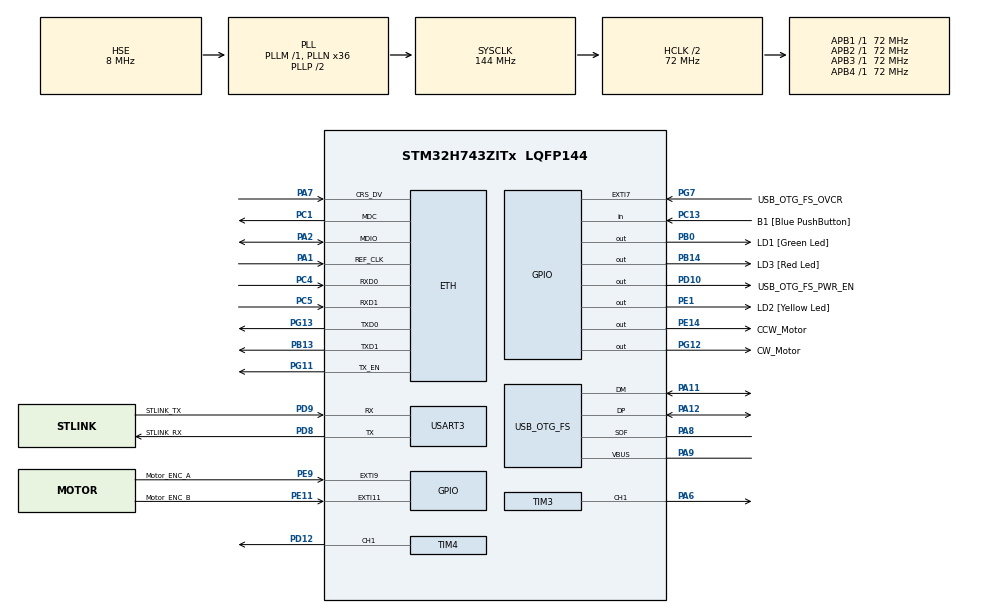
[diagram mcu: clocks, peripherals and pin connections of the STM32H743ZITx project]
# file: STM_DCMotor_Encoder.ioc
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ETH.MediaInterface=HAL_ETH_RMII_MODE
Mcu.Family=STM32H7
Mcu.Name=STM32H743ZITx
Mcu.Package=LQFP144
NVIC.EXTI15_10_IRQn=true\:0\:0\:false\:false\:true\:true\:true
NVIC.EXTI9_5_IRQn=true\:0\:0\:false\:false\:true\:true\:true
NVIC.PriorityGroup=NVIC_PRIORITYGROUP_4
NVIC.USART3_IRQn=true\:0\:0\:false\:false\:true\:true\:true
PA1.Mode=RMII
PA1.Signal=ETH_REF_CLK
PA11.Mode=Device_Only
PA11.Signal=USB_OTG_FS_DM
PA12.Mode=Device_Only
PA12.Signal=USB_OTG_FS_DP
PA13\ (JTMS/SWDIO).Mode=Serial_Wire
PA13\ (JTMS/SWDIO).Signal=DEBUG_JTMS-SWDIO
PA14\ (JTCK/SWCLK).Mode=Serial_Wire
PA14\ (JTCK/SWCLK).Signal=DEBUG_JTCK-SWCLK
PA2.Mode=RMII
PA2.Signal=ETH_MDIO
PA6.Signal=S_TIM3_CH1
PA7.Mode=RMII
PA7.Signal=ETH_CRS_DV
PA8.Mode=Activate_SOF_FS
PA8.Signal=USB_OTG_FS_SOF
PA9.Mode=Activate_VBUS
PA9.Signal=USB_OTG_FS_VBUS
PB0.GPIO_Label=LD1 [Green Led]
PB0.Signal=GPIO_Output
PB13.Mode=RMII
PB13.Signal=ETH_TXD1
PB14.GPIO_Label=LD3 [Red Led]
PB14.Signal=GPIO_Output
PC1.Mode=RMII
PC1.Signal=ETH_MDC
PC13.GPIO_Label=B1 [Blue PushButton]
PC13.Signal=GPIO_Input
PC14-OSC32_IN\ (OSC32_IN).Mode=LSE-External-Oscillator
PC14-OSC32_IN\ (OSC32_IN).Signal=RCC_OSC32_IN
PC15-OSC32_OUT\ (OSC32_OUT).Mode=LSE-External-Oscillator
PC15-OSC32_OUT\ (OSC32_OUT).Signal=RCC_OSC32_OUT
PC4.Mode=RMII
PC4.Signal=ETH_RXD0
PC5.Mode=RMII
PC5.Signal=ETH_RXD1
PD10.GPIO_Label=USB_OTG_FS_PWR_EN
PD10.Signal=GPIO_Output
PD12.Signal=S_TIM4_CH1
PD8.GPIO_Label=STLINK_RX
PD8.Mode=Asynchronous
PD8.Signal=USART3_TX
PD9.GPIO_Label=STLINK_TX
PD9.Mode=Asynchronous
PD9.Signal=USART3_RX
PE1.GPIO_Label=LD2 [Yellow Led]
PE1.Signal=GPIO_Output
PE11.GPIO_Label=Motor_ENC_B
PE11.Signal=GPXTI11
PE14.GPIO_Label=CCW_Motor
PE14.Signal=GPIO_Output
PE9.GPIO_Label=Motor_ENC_A
PE9.Signal=GPXTI9
PG11.Mode=RMII
PG11.Signal=ETH_TX_EN
PG12.GPIO_Label=CW_Motor
PG12.Signal=GPIO_Output
PG13.Mode=RMII
PG13.Signal=ETH_TXD0
PG7.GPIO_Label=USB_OTG_FS_OVCR
PG7.Signal=GPXTI7
PH0-OSC_IN\ (PH0).Mode=HSE-External-Clock-Source
PH0-OSC_IN\ (PH0).Signal=RCC_OSC_IN
PH1-OSC_OUT\ (PH1).Signal=RCC_OSC_OUT
ProjectManager.HeapSize=0x200
ProjectManager.StackSize=0x400
ProjectManager.TargetToolchain=MDK-ARM V5.32
RCC.ADCFreq_Value=16125000
RCC.APB1Freq_Value=72000000
RCC.APB2Freq_Value=72000000
RCC.APB3Freq_Value=72000000
RCC.APB4Freq_Value=72000000
RCC.CortexFreq_Value=72000000
RCC.D1CPRE=RCC_SYSCLK_DIV2
RCC.DIVM1=1
RCC.DIVN1=36
RCC.DIVQ1=5
RCC.HCLKFreq_Value=72000000
RCC.HSE_VALUE=8000000
RCC.PLL2FRACN=0
RCC.PLL3FRACN=0
RCC.PLLFRACN=0
RCC.PWR_Regulator_Voltage_Scale=PWR_REGULATOR_VOLTAGE_SCALE2
RCC.SYSCLKFreq_VALUE=144000000
RCC.SYSCLKSource=RCC_SYSCLKSOURCE_PLLCLK
RCC.USBFreq_Value=57600000
SH.S_TIM3_CH1.0=TIM3_CH1,PWM Generation1 CH1
SH.S_TIM4_CH1.0=TIM4_CH1,PWM Generation1 CH1
TIM3.Channel-PWM\ Generation1\ CH1=TIM_CHANNEL_1
TIM3.Period=100-1
TIM3.Prescaler=72-1
TIM4.Channel-PWM\ Generation1\ CH1=TIM_CHANNEL_1
TIM4.Period=100-1
TIM4.Prescaler=72-1
USART3.VirtualMode-Asynchronous=VM_ASYNC
USB_OTG_FS.VirtualMode=Device_Only
VP_TIM3_VS_ClockSourceINT.Mode=Internal
VP_TIM4_VS_ClockSourceINT.Mode=Internal
board=NUCLEO-H743ZI2

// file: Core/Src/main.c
/* USER CODE BEGIN Header */
/**
  ******************************************************************************
  * @file           : main.c
  * @brief          : Main program body
  ******************************************************************************
  * @attention
  *
  * <h2><center>&copy; Copyright (c) 2021 STMicroelectronics.
  * All rights reserved.</center></h2>
  *
  * This software component is licensed by ST under BSD 3-Clause license,
  * the "License"; You may not use this file except in compliance with the
  * License. You may obtain a copy of the License at:
  *                        opensource.org/licenses/BSD-3-Clause
  *
  ******************************************************************************
  */
/* USER CODE END Header */
#include "main.h"
#include "string.h"
#include "math.h"

#if defined ( __ICCARM__ ) /*!< IAR Compiler */

#pragma location=0x30040000
ETH_DMADescTypeDef  DMARxDscrTab[ETH_RX_DESC_CNT]; /* Ethernet Rx DMA Descriptors */
#pragma location=0x30040060
ETH_DMADescTypeDef  DMATxDscrTab[ETH_TX_DESC_CNT]; /* Ethernet Tx DMA Descriptors */
#pragma location=0x30040200
uint8_t Rx_Buff[ETH_RX_DESC_CNT][ETH_MAX_PACKET_SIZE]; /* Ethernet Receive Buffers */

#elif defined ( __CC_ARM )  /* MDK ARM Compiler */

__attribute__((at(0x30040000))) ETH_DMADescTypeDef  DMARxDscrTab[ETH_RX_DESC_CNT]; /* Ethernet Rx DMA Descriptors */
__attribute__((at(0x30040060))) ETH_DMADescTypeDef  DMATxDscrTab[ETH_TX_DESC_CNT]; /* Ethernet Tx DMA Descriptors */
__attribute__((at(0x30040200))) uint8_t Rx_Buff[ETH_RX_DESC_CNT][ETH_MAX_PACKET_SIZE]; /* Ethernet Receive Buffer */

#elif defined ( __GNUC__ ) /* GNU Compiler */

ETH_DMADescTypeDef DMARxDscrTab[ETH_RX_DESC_CNT] __attribute__((section(".RxDecripSection"))); /* Ethernet Rx DMA Descriptors */
ETH_DMADescTypeDef DMATxDscrTab[ETH_TX_DESC_CNT] __attribute__((section(".TxDecripSection")));   /* Ethernet Tx DMA Descriptors */
uint8_t Rx_Buff[ETH_RX_DESC_CNT][ETH_MAX_PACKET_SIZE] __attribute__((section(".RxArraySection"))); /* Ethernet Receive Buffers */

#endif

ETH_TxPacketConfig TxConfig;

ETH_HandleTypeDef heth;

TIM_HandleTypeDef htim3;
TIM_HandleTypeDef htim4;

UART_HandleTypeDef huart3;

PCD_HandleTypeDef hpcd_USB_OTG_FS;

void SystemClock_Config(void);
static void MX_GPIO_Init(void);
static void MX_ETH_Init(void);
static void MX_TIM3_Init(void);
static void MX_TIM4_Init(void);
static void MX_USART3_UART_Init(void);
static void MX_USB_OTG_FS_PCD_Init(void);

void encoder_tx(uint16_t data);

/* USER CODE BEGIN 0 */
uint8_t direction = 0; //0 is cw, 1 is ccw;
float duty;
float duty_cw = 0;
float duty_ccw = 0;

uint16_t counter = 0;
uint16_t encoder_counter = 0;
uint16_t old_encoder_counter = 0;

int millis = 0;
int old_millis = 0;

float motor_vel;
int delta_millis = 0;

uint8_t duty_data[3];
uint8_t encoder_data[2];
/* USER CODE END 0 */

int main(void)
{

  /* MCU Configuration--------------------------------------------------------*/

  /* Reset of all peripherals, Initializes the Flash interface and the Systick. */
  HAL_Init();

  /* Configure the system clock */
  SystemClock_Config();

  /* Initialize all configured peripherals */
  MX_GPIO_Init();
  MX_ETH_Init();
  MX_TIM3_Init();
  MX_TIM4_Init();
  MX_USART3_UART_Init();
  MX_USB_OTG_FS_PCD_Init();
  /* USER CODE BEGIN 2 */
	HAL_UART_Receive_IT (&huart3, duty_data, 3);
	//HAL_UART_Receive_DMA(&huart3, rx_data, 10);
	HAL_TIM_PWM_Start(&htim3, TIM_CHANNEL_1); // CW PWM Start
	HAL_TIM_PWM_Start(&htim4, TIM_CHANNEL_1); // CCW PWM Start
	HAL_Delay(20);
  /* USER CODE END 2 */

  /* Infinite loop */
  while (1)
  {
		//millis = HAL_GetTick();
		//delta_millis = millis - old_millis;
		//HAL_UART_Receive_IT(&huart3, (uint8_t *)duty_data, 3);

	  if(duty > 100)	duty = 100;

	  if(duty_data[0] == 0) direction = 0;
	  else									direction = 1;

		if(direction == 0)
		{
			HAL_GPIO_WritePin(CW_Motor_GPIO_Port, CW_Motor_Pin, GPIO_PIN_SET);
			HAL_GPIO_WritePin(CCW_Motor_GPIO_Port, CCW_Motor_Pin, GPIO_PIN_RESET);
			duty_cw = duty;
			duty_ccw = 0;
		}
		else
		{
			HAL_GPIO_WritePin(CCW_Motor_GPIO_Port, CCW_Motor_Pin, GPIO_PIN_SET);
			HAL_GPIO_WritePin(CW_Motor_GPIO_Port, CW_Motor_Pin, GPIO_PIN_RESET);
			duty_cw = 0;
			duty_ccw = duty;
		}

		TIM3->CCR1 = duty_cw; // CW PWM
		TIM4->CCR1 = duty_ccw; // CCW PWM

		HAL_TIM_PWM_Start(&htim3, TIM_CHANNEL_1); // CW PWM update
		HAL_TIM_PWM_Start(&htim4, TIM_CHANNEL_1); // CCW PWM update
		//old_millis = millis;
  }
}

void SystemClock_Config(void)
{
  RCC_OscInitTypeDef RCC_OscInitStruct = {0};
  RCC_ClkInitTypeDef RCC_ClkInitStruct = {0};

  /** Supply configuration update enable
  */
  HAL_PWREx_ConfigSupply(PWR_LDO_SUPPLY);
  /** Configure the main internal regulator output voltage
  */
  __HAL_PWR_VOLTAGESCALING_CONFIG(PWR_REGULATOR_VOLTAGE_SCALE2);

  while(!__HAL_PWR_GET_FLAG(PWR_FLAG_VOSRDY)) {}
  /** Initializes the RCC Oscillators according to the specified parameters
  * in the RCC_OscInitTypeDef structure.
  */
  RCC_OscInitStruct.OscillatorType = RCC_OSCILLATORTYPE_HSE;
  RCC_OscInitStruct.HSEState = RCC_HSE_BYPASS;
  RCC_OscInitStruct.PLL.PLLState = RCC_PLL_ON;
  RCC_OscInitStruct.PLL.PLLSource = RCC_PLLSOURCE_HSE;
  RCC_OscInitStruct.PLL.PLLM = 1;
  RCC_OscInitStruct.PLL.PLLN = 36;
  RCC_OscInitStruct.PLL.PLLP = 2;
  RCC_OscInitStruct.PLL.PLLQ = 5;
  RCC_OscInitStruct.PLL.PLLR = 2;
  RCC_OscInitStruct.PLL.PLLRGE = RCC_PLL1VCIRANGE_3;
  RCC_OscInitStruct.PLL.PLLVCOSEL = RCC_PLL1VCOWIDE;
  RCC_OscInitStruct.PLL.PLLFRACN = 0;
  if (HAL_RCC_OscConfig(&RCC_OscInitStruct) != HAL_OK)
  {
    Error_Handler();
  }
  /** Initializes the CPU, AHB and APB buses clocks
  */
  RCC_ClkInitStruct.ClockType = RCC_CLOCKTYPE_HCLK|RCC_CLOCKTYPE_SYSCLK
                              |RCC_CLOCKTYPE_PCLK1|RCC_CLOCKTYPE_PCLK2
                              |RCC_CLOCKTYPE_D3PCLK1|RCC_CLOCKTYPE_D1PCLK1;
  RCC_ClkInitStruct.SYSCLKSource = RCC_SYSCLKSOURCE_PLLCLK;
  RCC_ClkInitStruct.SYSCLKDivider = RCC_SYSCLK_DIV2;
  RCC_ClkInitStruct.AHBCLKDivider = RCC_HCLK_DIV1;
  RCC_ClkInitStruct.APB3CLKDivider = RCC_APB3_DIV1;
  RCC_ClkInitStruct.APB1CLKDivider = RCC_APB1_DIV1;
  RCC_ClkInitStruct.APB2CLKDivider = RCC_APB2_DIV1;
  RCC_ClkInitStruct.APB4CLKDivider = RCC_APB4_DIV1;

  if (HAL_RCC_ClockConfig(&RCC_ClkInitStruct, FLASH_LATENCY_1) != HAL_OK)
  {
    Error_Handler();
  }
}

static void MX_ETH_Init(void)
{

   static uint8_t MACAddr[6];

  heth.Instance = ETH;
  MACAddr[0] = 0x00;
  MACAddr[1] = 0x80;
  MACAddr[2] = 0xE1;
  MACAddr[3] = 0x00;
  MACAddr[4] = 0x00;
  MACAddr[5] = 0x00;
  heth.Init.MACAddr = &MACAddr[0];
  heth.Init.MediaInterface = HAL_ETH_RMII_MODE;
  heth.Init.TxDesc = DMATxDscrTab;
  heth.Init.RxDesc = DMARxDscrTab;
  heth.Init.RxBuffLen = 1524;

  if (HAL_ETH_Init(&heth) != HAL_OK)
  {
    Error_Handler();
  }

  memset(&TxConfig, 0 , sizeof(ETH_TxPacketConfig));
  TxConfig.Attributes = ETH_TX_PACKETS_FEATURES_CSUM | ETH_TX_PACKETS_FEATURES_CRCPAD;
  TxConfig.ChecksumCtrl = ETH_CHECKSUM_IPHDR_PAYLOAD_INSERT_PHDR_CALC;
  TxConfig.CRCPadCtrl = ETH_CRC_PAD_INSERT;

}

static void MX_TIM3_Init(void)
{

  TIM_ClockConfigTypeDef sClockSourceConfig = {0};
  TIM_MasterConfigTypeDef sMasterConfig = {0};
  TIM_OC_InitTypeDef sConfigOC = {0};

  htim3.Instance = TIM3;
  htim3.Init.Prescaler = 72-1;
  htim3.Init.CounterMode = TIM_COUNTERMODE_UP;
  htim3.Init.Period = 100-1;
  htim3.Init.ClockDivision = TIM_CLOCKDIVISION_DIV1;
  htim3.Init.AutoReloadPreload = TIM_AUTORELOAD_PRELOAD_DISABLE;
  if (HAL_TIM_Base_Init(&htim3) != HAL_OK)
  {
    Error_Handler();
  }
  sClockSourceConfig.ClockSource = TIM_CLOCKSOURCE_INTERNAL;
  if (HAL_TIM_ConfigClockSource(&htim3, &sClockSourceConfig) != HAL_OK)
  {
    Error_Handler();
  }
  if (HAL_TIM_PWM_Init(&htim3) != HAL_OK)
  {
    Error_Handler();
  }
  sMasterConfig.MasterOutputTrigger = TIM_TRGO_RESET;
  sMasterConfig.MasterSlaveMode = TIM_MASTERSLAVEMODE_DISABLE;
  if (HAL_TIMEx_MasterConfigSynchronization(&htim3, &sMasterConfig) != HAL_OK)
  {
    Error_Handler();
  }
  sConfigOC.OCMode = TIM_OCMODE_PWM1;
  sConfigOC.Pulse = 0;
  sConfigOC.OCPolarity = TIM_OCPOLARITY_HIGH;
  sConfigOC.OCFastMode = TIM_OCFAST_DISABLE;
  if (HAL_TIM_PWM_ConfigChannel(&htim3, &sConfigOC, TIM_CHANNEL_1) != HAL_OK)
  {
    Error_Handler();
  }
  HAL_TIM_MspPostInit(&htim3);

}

static void MX_TIM4_Init(void)
{

  TIM_ClockConfigTypeDef sClockSourceConfig = {0};
  TIM_MasterConfigTypeDef sMasterConfig = {0};
  TIM_OC_InitTypeDef sConfigOC = {0};

  htim4.Instance = TIM4;
  htim4.Init.Prescaler = 72-1;
  htim4.Init.CounterMode = TIM_COUNTERMODE_UP;
  htim4.Init.Period = 100-1;
  htim4.Init.ClockDivision = TIM_CLOCKDIVISION_DIV1;
  htim4.Init.AutoReloadPreload = TIM_AUTORELOAD_PRELOAD_DISABLE;
  if (HAL_TIM_Base_Init(&htim4) != HAL_OK)
  {
    Error_Handler();
  }
  sClockSourceConfig.ClockSource = TIM_CLOCKSOURCE_INTERNAL;
  if (HAL_TIM_ConfigClockSource(&htim4, &sClockSourceConfig) != HAL_OK)
  {
    Error_Handler();
  }
  if (HAL_TIM_PWM_Init(&htim4) != HAL_OK)
  {
    Error_Handler();
  }
  sMasterConfig.MasterOutputTrigger = TIM_TRGO_RESET;
  sMasterConfig.MasterSlaveMode = TIM_MASTERSLAVEMODE_DISABLE;
  if (HAL_TIMEx_MasterConfigSynchronization(&htim4, &sMasterConfig) != HAL_OK)
  {
    Error_Handler();
  }
  sConfigOC.OCMode = TIM_OCMODE_PWM1;
  sConfigOC.Pulse = 0;
  sConfigOC.OCPolarity = TIM_OCPOLARITY_HIGH;
  sConfigOC.OCFastMode = TIM_OCFAST_DISABLE;
  if (HAL_TIM_PWM_ConfigChannel(&htim4, &sConfigOC, TIM_CHANNEL_1) != HAL_OK)
  {
    Error_Handler();
  }
  HAL_TIM_MspPostInit(&htim4);

}

static void MX_USART3_UART_Init(void)
{

  huart3.Instance = USART3;
  huart3.Init.BaudRate = 115200;
  huart3.Init.WordLength = UART_WORDLENGTH_8B;
  huart3.Init.StopBits = UART_STOPBITS_1;
  huart3.Init.Parity = UART_PARITY_NONE;
  huart3.Init.Mode = UART_MODE_TX_RX;
  huart3.Init.HwFlowCtl = UART_HWCONTROL_NONE;
  huart3.Init.OverSampling = UART_OVERSAMPLING_16;
  huart3.Init.OneBitSampling = UART_ONE_BIT_SAMPLE_DISABLE;
  huart3.Init.ClockPrescaler = UART_PRESCALER_DIV1;
  huart3.AdvancedInit.AdvFeatureInit = UART_ADVFEATURE_NO_INIT;
  if (HAL_UART_Init(&huart3) != HAL_OK)
  {
    Error_Handler();
  }
  if (HAL_UARTEx_SetTxFifoThreshold(&huart3, UART_TXFIFO_THRESHOLD_1_8) != HAL_OK)
  {
    Error_Handler();
  }
  if (HAL_UARTEx_SetRxFifoThreshold(&huart3, UART_RXFIFO_THRESHOLD_1_8) != HAL_OK)
  {
    Error_Handler();
  }
  if (HAL_UARTEx_DisableFifoMode(&huart3) != HAL_OK)
  {
    Error_Handler();
  }

}

static void MX_USB_OTG_FS_PCD_Init(void)
{

  hpcd_USB_OTG_FS.Instance = USB_OTG_FS;
  hpcd_USB_OTG_FS.Init.dev_endpoints = 9;
  hpcd_USB_OTG_FS.Init.speed = PCD_SPEED_FULL;
  hpcd_USB_OTG_FS.Init.dma_enable = DISABLE;
  hpcd_USB_OTG_FS.Init.phy_itface = PCD_PHY_EMBEDDED;
  hpcd_USB_OTG_FS.Init.Sof_enable = ENABLE;
  hpcd_USB_OTG_FS.Init.low_power_enable = DISABLE;
  hpcd_USB_OTG_FS.Init.lpm_enable = DISABLE;
  hpcd_USB_OTG_FS.Init.battery_charging_enable = ENABLE;
  hpcd_USB_OTG_FS.Init.vbus_sensing_enable = ENABLE;
  hpcd_USB_OTG_FS.Init.use_dedicated_ep1 = DISABLE;
  if (HAL_PCD_Init(&hpcd_USB_OTG_FS) != HAL_OK)
  {
    Error_Handler();
  }

}

static void MX_GPIO_Init(void)
{
  GPIO_InitTypeDef GPIO_InitStruct = {0};

  /* GPIO Ports Clock Enable */
  __HAL_RCC_GPIOE_CLK_ENABLE();
  __HAL_RCC_GPIOC_CLK_ENABLE();
  __HAL_RCC_GPIOF_CLK_ENABLE();
  __HAL_RCC_GPIOH_CLK_ENABLE();
  __HAL_RCC_GPIOA_CLK_ENABLE();
  __HAL_RCC_GPIOB_CLK_ENABLE();
  __HAL_RCC_GPIOG_CLK_ENABLE();
  __HAL_RCC_GPIOD_CLK_ENABLE();

  /*Configure GPIO pin Output Level */
  HAL_GPIO_WritePin(GPIOB, LD1_Pin|LD3_Pin, GPIO_PIN_RESET);

  /*Configure GPIO pin Output Level */
  HAL_GPIO_WritePin(GPIOE, CCW_Motor_Pin|LD2_Pin, GPIO_PIN_RESET);

  /*Configure GPIO pin Output Level */
  HAL_GPIO_WritePin(USB_OTG_FS_PWR_EN_GPIO_Port, USB_OTG_FS_PWR_EN_Pin, GPIO_PIN_RESET);

  /*Configure GPIO pin Output Level */
  HAL_GPIO_WritePin(CW_Motor_GPIO_Port, CW_Motor_Pin, GPIO_PIN_RESET);

  /*Configure GPIO pins : PE2 PE3 PE4 PE5
                           PE6 PE7 PE8 PE10
                           PE12 PE13 PE15 PE0 */
  GPIO_InitStruct.Pin = GPIO_PIN_2|GPIO_PIN_3|GPIO_PIN_4|GPIO_PIN_5
                          |GPIO_PIN_6|GPIO_PIN_7|GPIO_PIN_8|GPIO_PIN_10
                          |GPIO_PIN_12|GPIO_PIN_13|GPIO_PIN_15|GPIO_PIN_0;
  GPIO_InitStruct.Mode = GPIO_MODE_ANALOG;
  GPIO_InitStruct.Pull = GPIO_NOPULL;
  HAL_GPIO_Init(GPIOE, &GPIO_InitStruct);

  /*Configure GPIO pin : B1_Pin */
  GPIO_InitStruct.Pin = B1_Pin;
  GPIO_InitStruct.Mode = GPIO_MODE_INPUT;
  GPIO_InitStruct.Pull = GPIO_NOPULL;
  HAL_GPIO_Init(B1_GPIO_Port, &GPIO_InitStruct);

  /*Configure GPIO pins : PF0 PF1 PF2 PF3
                           PF4 PF5 PF6 PF7
                           PF8 PF9 PF10 PF11
                           PF12 PF13 PF14 PF15 */
  GPIO_InitStruct.Pin = GPIO_PIN_0|GPIO_PIN_1|GPIO_PIN_2|GPIO_PIN_3
                          |GPIO_PIN_4|GPIO_PIN_5|GPIO_PIN_6|GPIO_PIN_7
                          |GPIO_PIN_8|GPIO_PIN_9|GPIO_PIN_10|GPIO_PIN_11
                          |GPIO_PIN_12|GPIO_PIN_13|GPIO_PIN_14|GPIO_PIN_15;
  GPIO_InitStruct.Mode = GPIO_MODE_ANALOG;
  GPIO_InitStruct.Pull = GPIO_NOPULL;
  HAL_GPIO_Init(GPIOF, &GPIO_InitStruct);

  /*Configure GPIO pins : PC0 PC2 PC3 PC6
                           PC7 PC8 PC9 PC10
                           PC11 PC12 */
  GPIO_InitStruct.Pin = GPIO_PIN_0|GPIO_PIN_2|GPIO_PIN_3|GPIO_PIN_6
                          |GPIO_PIN_7|GPIO_PIN_8|GPIO_PIN_9|GPIO_PIN_10
                          |GPIO_PIN_11|GPIO_PIN_12;
  GPIO_InitStruct.Mode = GPIO_MODE_ANALOG;
  GPIO_InitStruct.Pull = GPIO_NOPULL;
  HAL_GPIO_Init(GPIOC, &GPIO_InitStruct);

  /*Configure GPIO pins : PA0 PA3 PA4 PA5
                           PA10 PA15 */
  GPIO_InitStruct.Pin = GPIO_PIN_0|GPIO_PIN_3|GPIO_PIN_4|GPIO_PIN_5
                          |GPIO_PIN_10|GPIO_PIN_15;
  GPIO_InitStruct.Mode = GPIO_MODE_ANALOG;
  GPIO_InitStruct.Pull = GPIO_NOPULL;
  HAL_GPIO_Init(GPIOA, &GPIO_InitStruct);

  /*Configure GPIO pins : LD1_Pin LD3_Pin */
  GPIO_InitStruct.Pin = LD1_Pin|LD3_Pin;
  GPIO_InitStruct.Mode = GPIO_MODE_OUTPUT_PP;
  GPIO_InitStruct.Pull = GPIO_NOPULL;
  GPIO_InitStruct.Speed = GPIO_SPEED_FREQ_LOW;
  HAL_GPIO_Init(GPIOB, &GPIO_InitStruct);

  /*Configure GPIO pins : PB1 PB2 PB10 PB11
                           PB12 PB15 PB3 PB4
                           PB5 PB6 PB7 PB8
                           PB9 */
  GPIO_InitStruct.Pin = GPIO_PIN_1|GPIO_PIN_2|GPIO_PIN_10|GPIO_PIN_11
                          |GPIO_PIN_12|GPIO_PIN_15|GPIO_PIN_3|GPIO_PIN_4
                          |GPIO_PIN_5|GPIO_PIN_6|GPIO_PIN_7|GPIO_PIN_8
                          |GPIO_PIN_9;
  GPIO_InitStruct.Mode = GPIO_MODE_ANALOG;
  GPIO_InitStruct.Pull = GPIO_NOPULL;
  HAL_GPIO_Init(GPIOB, &GPIO_InitStruct);

  /*Configure GPIO pins : PG0 PG1 PG2 PG3
                           PG4 PG5 PG6 PG8
                           PG9 PG10 PG14 PG15 */
  GPIO_InitStruct.Pin = GPIO_PIN_0|GPIO_PIN_1|GPIO_PIN_2|GPIO_PIN_3
                          |GPIO_PIN_4|GPIO_PIN_5|GPIO_PIN_6|GPIO_PIN_8
                          |GPIO_PIN_9|GPIO_PIN_10|GPIO_PIN_14|GPIO_PIN_15;
  GPIO_InitStruct.Mode = GPIO_MODE_ANALOG;
  GPIO_InitStruct.Pull = GPIO_NOPULL;
  HAL_GPIO_Init(GPIOG, &GPIO_InitStruct);

  /*Configure GPIO pins : Motor_ENC_A_Pin Motor_ENC_B_Pin */
  GPIO_InitStruct.Pin = Motor_ENC_A_Pin|Motor_ENC_B_Pin;
  GPIO_InitStruct.Mode = GPIO_MODE_IT_RISING;
  GPIO_InitStruct.Pull = GPIO_NOPULL;
  HAL_GPIO_Init(GPIOE, &GPIO_InitStruct);

  /*Configure GPIO pins : CCW_Motor_Pin LD2_Pin */
  GPIO_InitStruct.Pin = CCW_Motor_Pin|LD2_Pin;
  GPIO_InitStruct.Mode = GPIO_MODE_OUTPUT_PP;
  GPIO_InitStruct.Pull = GPIO_NOPULL;
  GPIO_InitStruct.Speed = GPIO_SPEED_FREQ_LOW;
  HAL_GPIO_Init(GPIOE, &GPIO_InitStruct);

  /*Configure GPIO pin : USB_OTG_FS_PWR_EN_Pin */
  GPIO_InitStruct.Pin = USB_OTG_FS_PWR_EN_Pin;
  GPIO_InitStruct.Mode = GPIO_MODE_OUTPUT_PP;
  GPIO_InitStruct.Pull = GPIO_NOPULL;
  GPIO_InitStruct.Speed = GPIO_SPEED_FREQ_LOW;
  HAL_GPIO_Init(USB_OTG_FS_PWR_EN_GPIO_Port, &GPIO_InitStruct);

  /*Configure GPIO pins : PD11 PD13 PD14 PD15
                           PD0 PD1 PD2 PD3
                           PD4 PD5 PD6 PD7 */
  GPIO_InitStruct.Pin = GPIO_PIN_11|GPIO_PIN_13|GPIO_PIN_14|GPIO_PIN_15
                          |GPIO_PIN_0|GPIO_PIN_1|GPIO_PIN_2|GPIO_PIN_3
                          |GPIO_PIN_4|GPIO_PIN_5|GPIO_PIN_6|GPIO_PIN_7;
  GPIO_InitStruct.Mode = GPIO_MODE_ANALOG;
  GPIO_InitStruct.Pull = GPIO_NOPULL;
  HAL_GPIO_Init(GPIOD, &GPIO_InitStruct);

  /*Configure GPIO pin : USB_OTG_FS_OVCR_Pin */
  GPIO_InitStruct.Pin = USB_OTG_FS_OVCR_Pin;
  GPIO_InitStruct.Mode = GPIO_MODE_IT_RISING;
  GPIO_InitStruct.Pull = GPIO_NOPULL;
  HAL_GPIO_Init(USB_OTG_FS_OVCR_GPIO_Port, &GPIO_InitStruct);

  /*Configure GPIO pin : CW_Motor_Pin */
  GPIO_InitStruct.Pin = CW_Motor_Pin;
  GPIO_InitStruct.Mode = GPIO_MODE_OUTPUT_PP;
  GPIO_InitStruct.Pull = GPIO_NOPULL;
  GPIO_InitStruct.Speed = GPIO_SPEED_FREQ_LOW;
  HAL_GPIO_Init(CW_Motor_GPIO_Port, &GPIO_InitStruct);

  /* EXTI interrupt init*/
  HAL_NVIC_SetPriority(EXTI9_5_IRQn, 0, 0);
  HAL_NVIC_EnableIRQ(EXTI9_5_IRQn);

  HAL_NVIC_SetPriority(EXTI15_10_IRQn, 0, 0);
  HAL_NVIC_EnableIRQ(EXTI15_10_IRQn);

}

/* USER CODE BEGIN 4 */
void HAL_GPIO_EXTI_Callback(uint16_t GPIO_Pin) //Caculate encoder pulse
{
	old_encoder_counter = encoder_counter;

	if(GPIO_Pin == Motor_ENC_A_Pin)
	{
		if(HAL_GPIO_ReadPin(Motor_ENC_B_GPIO_Port, Motor_ENC_B_Pin) == 0)
			counter++;
		else if(HAL_GPIO_ReadPin(Motor_ENC_B_GPIO_Port, Motor_ENC_B_Pin) == 1)
			counter--;
	}
	else
	{
		__NOP();
	}

	if(GPIO_Pin == Motor_ENC_B_Pin)
	{
		if(HAL_GPIO_ReadPin(Motor_ENC_A_GPIO_Port, Motor_ENC_A_Pin) == 1)
			counter++;
		else if(HAL_GPIO_ReadPin(Motor_ENC_A_GPIO_Port, Motor_ENC_A_Pin) == 0)
			counter--;
	}
	else
	{
		__NOP();
	}

	encoder_counter = counter;// >> 1;
	encoder_tx(encoder_counter);
	//HAL_UART_Transmit_IT(&huart3, encoder_data, 2);
	//motor_vel = (encoder_counter - old_encoder_counter) / delta_millis;
}

void HAL_UART_RxCpltCallback(UART_HandleTypeDef *huart)
{
	if(huart->Instance == USART3)
	{
		HAL_UART_Receive_IT(&huart3, (uint8_t *)duty_data, 3);
		duty = duty_data[1] + duty_data[2] * 0.01;
		HAL_UART_Transmit_IT(&huart3, encoder_data, 2);
	}
}

void encoder_tx(uint16_t data)
{
	encoder_data[0] = (data >> 8) & 0xFF; // Encoder data highByte
	encoder_data[1] = data & 0xFF; // Encoder data LowByte
}

/* USER CODE END 4 */
void Error_Handler(void)
{
  __disable_irq();
  while (1)
  {
  }
}

/************************ (C) COPYRIGHT STMicroelectronics *****END OF FILE****/
